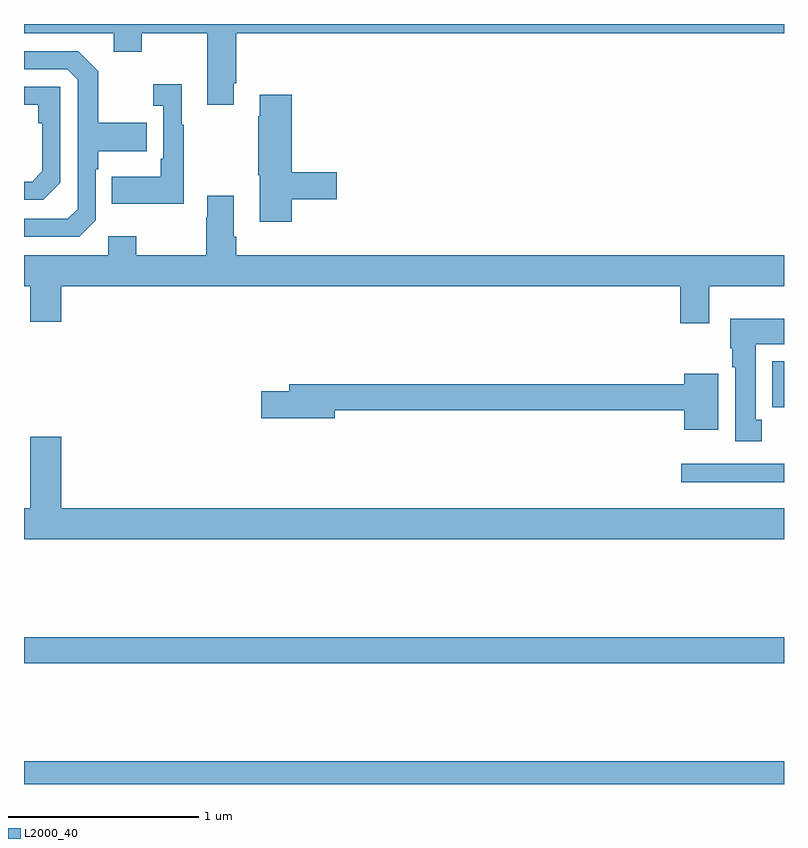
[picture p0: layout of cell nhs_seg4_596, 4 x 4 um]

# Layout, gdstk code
import gdstk
lib = gdstk.Library(unit=1e-6, precision=1e-09)
def R(c, l, rs):  # rectangles x0, y0, x1, y1
    for r in rs: c.add(gdstk.rectangle(r[:2], r[2:], *l))
def P(c, l, *ps):  # polygons
    for p in ps: c.add(gdstk.Polygon(p, *l))
L2000_40 = (2000, 40)

nhs_seg4_596 = lib.new_cell('nhs_seg4_596')
R(nhs_seg4_596, L2000_40, [(141,760.9,145,761.02), (141,761.536,145,761.672), (144.459,762.488,145,762.585), (144.938,762.884,145,763.126)])
P(nhs_seg4_596, L2000_40, [(142.105,764.587),(142.118,764.587),(142.118,764.852),(145,764.852),(145,764.9),(141,764.9),(141,764.852),(141.473,764.852),(141.473,764.753),(141.621,764.753),(141.621,764.852),(141.965,764.852),(141.965,764.475),(142.105,764.475)],
  [(141.378,763.866),(141.378,764.135),(141.391,764.135),(141.391,764.231),(141.647,764.231),(141.647,764.379),(141.391,764.379),(141.391,764.651),(141.285,764.757),(141,764.757),(141,764.661),(141.228,764.661),(141.282,764.607),(141.282,763.926),(141.231,763.875),(141,763.875),(141,763.779),(141.291,763.779)],
  [(141.841,764.371),(141.829,764.371),(141.829,764.584),(141.681,764.584),(141.681,764.471),(141.732,764.471),(141.732,764.191),(141.72,764.191),(141.72,764.095),(141.463,764.095),(141.463,763.955),(141.841,763.955)],
  [(141.192,764.064),(141.192,764.571),(141,764.571),(141,764.475),(141.076,764.475),(141.076,764.378),(141.096,764.378),(141.096,764.124),(141.043,764.071),(141,764.071),(141,763.974),(141.102,763.974)],
  [(142.409,763.978),(142.645,763.978),(142.645,764.12),(142.409,764.12),(142.409,764.527),(142.241,764.527),(142.241,764.414),(142.234,764.414),(142.234,764.103),(142.241,764.103),(142.241,763.86),(142.409,763.86)],
  [(144.607,763.52),(145,763.52),(145,763.684),(142.118,763.684),(142.118,763.78),(142.105,763.78),(142.105,763.996),(141.965,763.996),(141.965,763.883),(141.958,763.883),(141.958,763.684),(141.591,763.684),(141.591,763.783),(141.444,763.783),(141.444,763.684),(141,763.684),(141,763.52),(141.032,763.52),(141.032,763.332),(141.196,763.332),(141.196,763.52),(144.455,763.52),(144.455,763.326),(144.607,763.326)],
  [(144.883,762.818),(144.85,762.818),(144.85,763.214),(145,763.214),(145,763.348),(144.716,763.348),(144.716,763.194),(144.728,763.194),(144.728,763.094),(144.743,763.094),(144.743,762.705),(144.883,762.705)],
  [(144.655,763.06),(144.476,763.06),(144.476,763.004),(142.397,763.004),(142.397,762.968),(142.248,762.968),(142.248,762.826),(142.636,762.826),(142.636,762.868),(144.476,762.868),(144.476,762.764),(144.655,762.764)],
  [(145,762.352),(141.196,762.352),(141.196,762.727),(141.032,762.727),(141.032,762.352),(141,762.352),(141,762.188),(145,762.188)])

lib.write_gds('nhs_seg4_596.gds')
